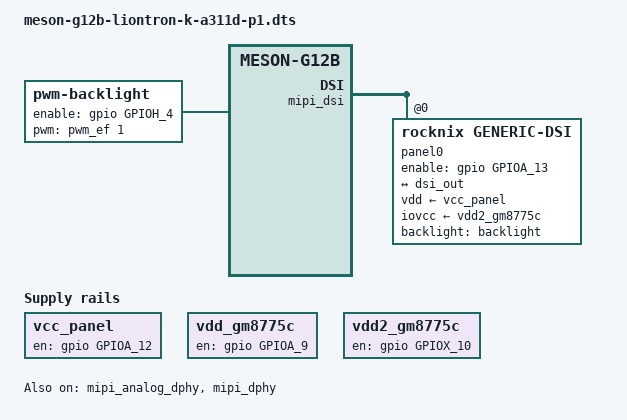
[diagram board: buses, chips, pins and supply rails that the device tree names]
// SPDX-License-Identifier: (GPL-2.0+ OR MIT)
/*
 * Copyright (c) 2019 BayLibre, SAS
 * Copyright (c) 2019 Neil Armstrong <narmstrong@baylibre.com>
 * Copyright (c) 2019 Christian Hewitt <christianshewitt@gmail.com>
 * Copyright (c) 2025 retro98boy <retro98boy@qq.com>
 */

/*
 1. 1920x1080 60Hz dual-channel 8-bit LVDS panel
 */

/dts-v1/;

#include "meson-g12b-liontron-k-a311d.dts"

/ {
	backlight: backlight {
		compatible = "pwm-backlight";
		enable-gpios = <&gpio GPIOH_4 GPIO_ACTIVE_HIGH>; /* EN in J20 connector */
		pwms = <&pwm_ef 1 1000 0>; /* ADJ in J20 connector, GPIOH_5 */
		brightness-levels = <
			  0   1   2   3   4   5   6   7
			  8   9  10  11  12  13  14  15
			 16  17  18  19  20  21  22  23
			 24  25  26  27  28  29  30  31
			 32  33  34  35  36  37  38  39
			 40  41  42  43  44  45  46  47
			 48  49  50  51  52  53  54  55
			 56  57  58  59  60  61  62  63
			 64  65  66  67  68  69  70  71
			 72  73  74  75  76  77  78  79
			 80  81  82  83  84  85  86  87
			 88  89  90  91  92  93  94  95
			 96  97  98  99 100 101 102 103
			104 105 106 107 108 109 110 111
			112 113 114 115 116 117 118 119
			120 121 122 123 124 125 126 127
			128 129 130 131 132 133 134 135
			136 137 138 139 140 141 142 143
			144 145 146 147 148 149 150 151
			152 153 154 155 156 157 158 159
			160 161 162 163 164 165 166 167
			168 169 170 171 172 173 174 175
			176 177 178 179 180 181 182 183
			184 185 186 187 188 189 190 191
			192 193 194 195 196 197 198 199
			200 201 202 203 204 205 206 207
			208 209 210 211 212 213 214 215
			216 217 218 219 220 221 222 223
			224 225 226 227 228 229 230 231
			232 233 234 235 236 237 238 239
			240 241 242 243 244 245 246 247
			248 249 250 251 252 253 254 255>;
		default-brightness-level = <200>;
	};

	vcc_panel: regulator-vcc-panel {
		compatible = "regulator-fixed";
		enable-active-high;
		gpio = <&gpio GPIOA_12 GPIO_ACTIVE_HIGH>;
		regulator-name = "vcc_panel";
	};

	vdd_gm8775c: regulator-vdd-gm8775c { /* GM8775C VDD_LVDS&VDD_PLL */
		compatible = "regulator-fixed";
		enable-active-high;
		gpio = <&gpio GPIOA_9 GPIO_ACTIVE_HIGH>;
		regulator-name = "vdd_gm8775c";
		regulator-always-on;
		regulator-boot-on;
	};

	vdd2_gm8775c: regulator-vdd2-gm8775c { /* GM8775C VDD_IO&VDDRX */
		compatible = "regulator-fixed";
		enable-active-high;
		gpio = <&gpio GPIOX_10 GPIO_ACTIVE_HIGH>;
		regulator-name = "vdd2_gm8775c";
		regulator-always-on;
		regulator-boot-on;
	};
};

&pwm_ef {
	pinctrl-0 = <&pwm_e_pins &pwm_f_h_pins>;
};

&mipi_analog_dphy {
	status = "okay";
};

&mipi_dphy {
	status = "okay";
};

&mipi_dsi_panel_port {
	dsi_out: endpoint {
		remote-endpoint = <&gm8775c_in>;
	};
};

&mipi_dsi {
	status = "okay";

	/*
	 * 1080p60: 2200 * 1125 * 60 = 148.5 MHz pixel clock.
	 * RGB888 over four DSI lanes: 148.5 MHz * 24 / 4 = 891 Mbps/lane.
	 * GP0_PLL supplies both the DSI bit clock and the ENCL pixel clock.
	 * MIPI_DSI_PXCLK supplies the bit clock at 891 MHz despite its name.
	 * The DSI driver sets the VCLK2 divider to /6 for 148.5 MHz at CTS_ENCL.
	 * VCLK2_DIV1 adds no further division.
	 * Zero entries skip the corresponding parent or rate assignment.
	 */
	assigned-clocks = <&clkc CLKID_GP0_PLL>,
			  <&clkc CLKID_MIPI_DSI_PXCLK_SEL>,
			  <&clkc CLKID_MIPI_DSI_PXCLK>,
			  <&clkc CLKID_CTS_ENCL_SEL>,
			  <&clkc CLKID_VCLK2_SEL>;
	assigned-clock-parents = <0>,
				 <&clkc CLKID_GP0_PLL>,
				 <0>,
				 <&clkc CLKID_VCLK2_DIV1>,
				 <&clkc CLKID_GP0_PLL>;
	assigned-clock-rates = <891000000>,
			       <0>,
			       <891000000>,
			       <0>,
			       <0>;

	panel0: panel@0 {
		compatible = "rocknix,generic-dsi";
		reg = <0>;

		vdd-supply = <&vcc_panel>;
		iovcc-supply = <&vdd2_gm8775c>;
		enable-gpios = <&gpio GPIOA_13 GPIO_ACTIVE_HIGH>; /* GM8775C EN */
		backlight = <&backlight>;
		rotation = <0>;

		panel_description =
			"G delays=20,200,120,100,0,20,20 size=65,10 format=rgb888 lanes=4 flags=0xa03 dcs=0",
			/* Use matching DSI and LVDS blanking intervals. */
			"M clock=148500 horizontal=1920,88,44,148 vertical=1080,4,5,36 default=1",
			"I generic=27aa wait=3",
			"I generic=4802 wait=3",
			"I generic=b620 wait=3",
			"I generic=0180 wait=3",
			"I generic=0238 wait=3",
			"I generic=0347 wait=3",
			"I generic=0458 wait=3",
			"I generic=052c wait=3",
			"I generic=0694 wait=3",
			"I generic=0700 wait=3",
			"I generic=0804 wait=3",
			"I generic=0905 wait=3",
			"I generic=0a24 wait=3",
			/* Match the DSI pixel rate with a 28/3 PLL ratio. */
			"I generic=0b83 wait=3",
			"I generic=0c1c wait=3",
			"I generic=0d01 wait=3",
			"I generic=0e80 wait=3",
			"I generic=0f20 wait=3",
			"I generic=1020 wait=3",
			"I generic=1103 wait=3",
			"I generic=121b wait=3",
			/* Map even pixels to LVDS A and odd pixels to LVDS B. */
			"I generic=1363 wait=3",
			"I generic=1401 wait=3",
			"I generic=1523 wait=3",
			"I generic=1640 wait=3",
			"I generic=1700 wait=3",
			"I generic=1801 wait=3",
			"I generic=1923 wait=3",
			"I generic=1a40 wait=3",
			"I generic=1b00 wait=3",
			"I generic=1e46 wait=3",
			"I generic=5130 wait=3",
			"I generic=1f10 wait=3",
			"I generic=2a01 wait=3";

		ports {
			#address-cells = <1>;
			#size-cells = <0>;

			port@0 {
				reg = <0>;
				gm8775c_in: endpoint {
					remote-endpoint = <&dsi_out>;
				};
			};
		};
	};
};
